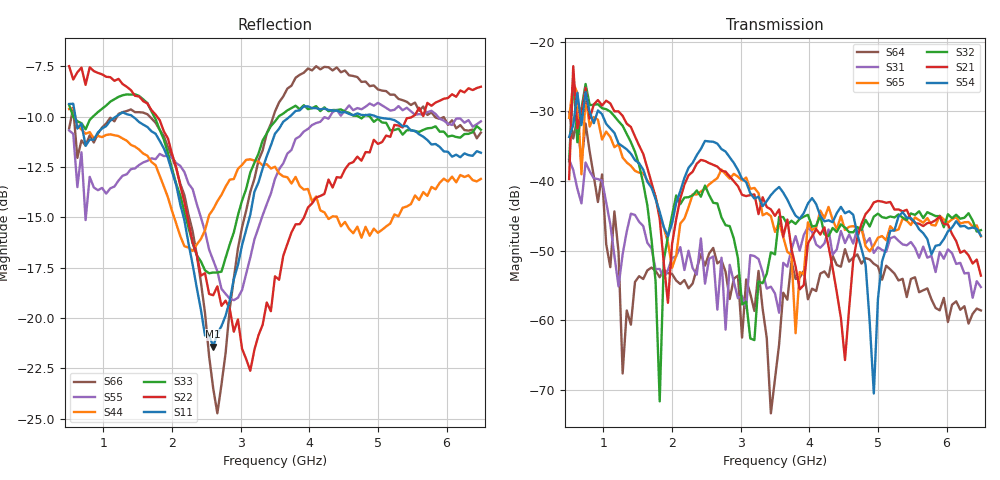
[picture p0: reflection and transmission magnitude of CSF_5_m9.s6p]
!Keysight Technologies,M9804A,MY58100912,A.14.10.03
!Date: Thursday, April 27, 2023 10:28:33
!Correction: S11(C  6-Port  )
!S12(C  6-Port  )
!S13(C  6-Port  )
!S14(C  6-Port  )
!S15(C  6-Port  )
!S16(C  6-Port  )
!S21(C  6-Port  )
!S22(C  6-Port  )
!S23(C  6-Port  )
!S24(C  6-Port  )
!S25(C  6-Port  )
!S26(C  6-Port  )
!S31(C  6-Port  )
!S32(C  6-Port  )
!S33(C  6-Port  )
!S34(C  6-Port  )
!S35(C  6-Port  )
!S36(C  6-Port  )
!S41(C  6-Port  )
!S42(C  6-Port  )
!S43(C  6-Port  )
!S44(C  6-Port  )
!S45(C  6-Port  )
!S46(C  6-Port  )
!S51(C  6-Port  )
!S52(C  6-Port  )
!S53(C  6-Port  )
!S54(C  6-Port  )
!S55(C  6-Port  )
!S56(C  6-Port  )
!S61(C  6-Port  )
!S62(C  6-Port  )
!S63(C  6-Port  )
!S64(C  6-Port  )
!S65(C  6-Port  )
!S66(C  6-Port  )
!S6P File: Measurement: :
# Hz S  RI  R 50
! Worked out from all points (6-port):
!   101 points, 500 MHz to 6.5 GHz, reference 50 ohm
!   strongest paths, dB at 500 MHz, 2 GHz, 3.5 GHz, 5 GHz, 6.5 GHz:
!     S54: -33.7, -46.1, -41.4, -56.9, -47.8
!     S21: -39.7, -49.0, -45.0, -42.8, -53.6
!     S32: -37.2, -44.9, -50.5, -44.7, -47.0
!     S65: -30.9, -52.5, -47.3, -48.1, -47.9
!     S31: -36.9, -51.1, -56.1, -49.5, -55.2
!     S64: -30.1, -53.3, -68.4, -52.2, -58.6
!   lowest |S11| = -21.4 dB at 2.6 GHz (marker M1), VSWR 1.19, Z = 42.5 + j2.26 ohm
!   |S11| at or under -10 dB: 591.1 MHz to 1.184 GHz (592.5 MHz wide, 66.8 % of centre); 1.428 GHz to 3.715 GHz (2.286 GHz wide, 88.9 % of centre); 4.977 GHz to end of sweep
